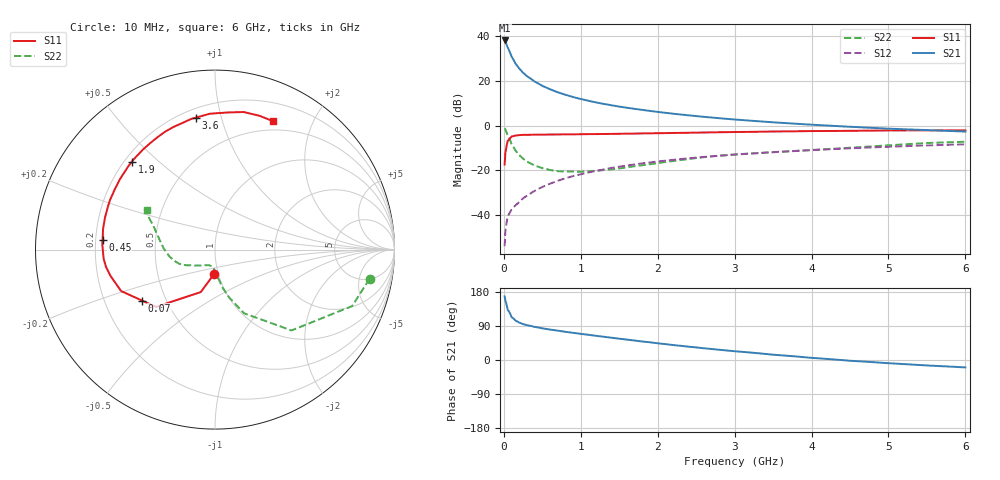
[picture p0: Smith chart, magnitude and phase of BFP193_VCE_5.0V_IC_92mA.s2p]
! (c) 2017  Infineon Technologies AG, Munich
! Infineon Technologies  Discrete & RF Semiconductors
! BFP193
! VCE =  5.0 V,  IC =  92 mA
! Common Emitter S-Parameters:  Jan 2017
# GHz  S  MA  R  50
!  f  S11  S21  S12  S22
! GHz  MAG  ANG  MAG  ANG  MAG  ANG  MAG  ANG
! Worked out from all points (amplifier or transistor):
!   77 points, 10 MHz to 6 GHz, reference 50 ohm
!   highest |S21| = 38.2 dB at 10 MHz (marker M1)
!   |S21| within 3 dB of that: start of sweep to 49.23 MHz
!   unconditionally stable (mu >= 1): 353.4 MHz to 2.519 GHz
!   at 130 MHz: K = 0.75, MSG = 32.8 dB, |S12| = -36.4 dB
!   at 2.2 GHz: K = 1.02, MAG = 9.5 dB, |S12| = -15.3 dB
!   at 6 GHz: K = 0.93, MSG = 2.8 dB, |S12| = -8.3 dB
!   S11 on the Smith chart (normalised r, x): 10 MHz: 0.96, -0.26; 70 MHz: 0.37, -0.28; 450 MHz: 0.23, +0.04; 1.9 GHz: 0.23, +0.41; 3.6 GHz: 0.25, +0.83; 6 GHz: 0.39, +1.47
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0.01  0.1343 -91.7  81.07 167.9  0.002 79.6  0.8765 -10.7
0.02  0.2495 -108.5  77.17 157.0  0.0043 76.3  0.8262 -22.4
0.05  0.458 -135.8  57 132.4  0.009 61.1  0.6199 -46.6
0.07  0.4957 -145.1  47.81 126.8  0.0107 60.6  0.5223 -52.1
0.1  0.5719 -156.2  35.44 113.2  0.0132 60.0  0.3907 -65.4
0.15  0.5998 -165.7  24.86 104.3  0.0163 62.7  0.2797 -73.4
0.2  0.6149 -171.0  19.02 98.8  0.0195 66.5  0.2199 -78.4
0.25  0.6224 -175.2  15.36 94.7  0.0236 66.7  0.1828 -81.2
0.3  0.6236 -178.1  12.86 92.0  0.0269 69.1  0.1568 -84.1
0.4  0.6289 177.2  9.745 87.3  0.0346 71.7  0.1279 -88.2
0.45  0.6289 175.1  8.774 85.7  0.0385 71.8  0.1199 -90.1
0.6  0.6343 169.6  6.547 80.3  0.0502 71.4  0.1016 -96.3
0.7  0.6357 166.6  5.617 77.5  0.0581 71.6  0.0956 -99.2
0.9  0.6401 160.4  4.377 71.7  0.0742 70.2  0.0936 -106.7
1.1  0.647 154.8  3.612 66.5  0.0894 68.7  0.0951 -113.8
1.9  0.6745 133.4  2.141 46.7  0.1504 59.1  0.137 -139.9
2.1  0.6819 128.3  1.943 41.9  0.1647 56.4  0.1534 -144.9
3.1  0.7234 107.2  1.335 21.5  0.2304 43.4  0.2323 -164.2
3.6  0.7429 98.4  1.161 12.5  0.26 37.5  0.261 -173.3
4.1  0.7584 90.7  1.03 4.3  0.2886 31.4  0.2918 176.5
5.1  0.7827 76.9  0.844 -9.6  0.3416 19.5  0.3721 158.5
6  0.7849 65.8  0.738 -19.6  0.383 9.3  0.4365 149.6
